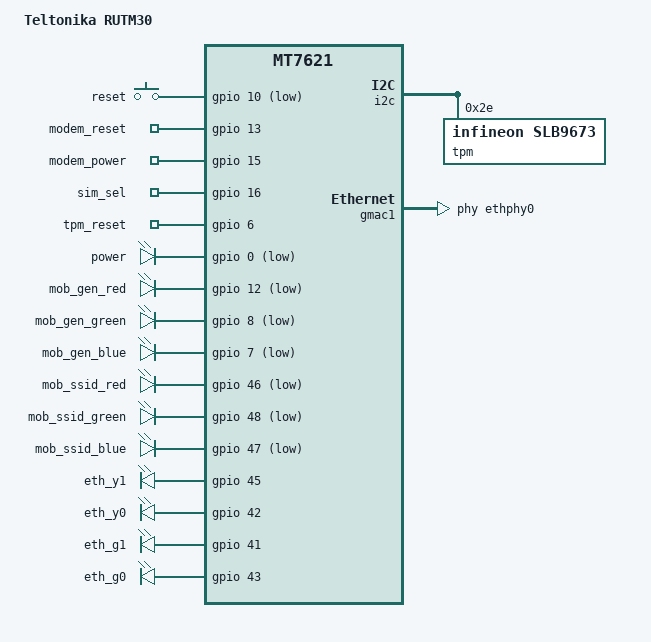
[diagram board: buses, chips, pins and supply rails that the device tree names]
#include "mt7621-teltonika-rutm-common.dtsi"

/ {
	compatible = "teltonika,rutm", "mediatek,mt7621-soc";
	model = "Teltonika RUTM30";

	keys {
		compatible = "gpio-keys";

		reset {
			label = "reset";
			gpios = <&gpio 10 GPIO_ACTIVE_LOW>;
			linux,code = <KEY_RESTART>;
		};
	};

	gpio-export {
		compatible = "gpio-export";
		#size-cells = <0>;

		gpio_modem_reset {
			gpio-export,name = "modem_reset";
			gpio-export,output = <0>;
			gpios = <&gpio 13 GPIO_ACTIVE_HIGH>;
		};

		gpio_modem_power {
			gpio-export,name = "modem_power";
			gpio-export,output = <1>; // tmp
			gpios = <&gpio 15 GPIO_ACTIVE_HIGH>;
		};

		gpio_sim_select {
			gpio-export,name = "sim_sel";
			gpio-export,output = <0>;
			gpios = <&gpio 16 GPIO_ACTIVE_HIGH>;
		};

		gpio_tpm_reset {
			gpio-export,name = "tpm_reset";
			gpio-export,output = <1>;
			gpios = <&gpio 6 GPIO_ACTIVE_HIGH>;
		};
	};

	leds {
		compatible = "gpio-leds";

		led_power {
			label = "power";
			gpios = <&gpio 0 GPIO_ACTIVE_LOW>;
			default-state = "on";
			retain-state-shutdown;
		};

		led_gen_red {
			label = "mob_gen_red";
			gpios = <&gpio 12 GPIO_ACTIVE_LOW>;
		};

		led_gen_green {
			label = "mob_gen_green";
			gpios = <&gpio 8 GPIO_ACTIVE_LOW>;
		};

		led_gen_blue {
			label = "mob_gen_blue";
			gpios = <&gpio 7 GPIO_ACTIVE_LOW>;
		};

		led_ssid_red {
			label = "mob_ssid_red";
			gpios = <&gpio 46 GPIO_ACTIVE_LOW>;
			linux,default-trigger = "timer"; // only
		};

		led_ssid_green {
			label = "mob_ssid_green";
			gpios = <&gpio 48 GPIO_ACTIVE_LOW>;
			linux,default-trigger = "timer"; //only
		};

		led_ssid_blue {
			label = "mob_ssid_blue";
			gpios = <&gpio 47 GPIO_ACTIVE_LOW>;
			linux,default-trigger = "timer"; // only
		};

		led_eth_y1 {
			label = "eth_y1";
			gpios = <&gpio 45 GPIO_ACTIVE_HIGH>;
		};

		led_eth_y0 {
			label = "eth_y0";
			gpios = <&gpio 42 GPIO_ACTIVE_HIGH>;
		};

		led_eth_g1 {
			label = "eth_g1";
			gpios = <&gpio 41 GPIO_ACTIVE_HIGH>;
		};

		led_eth_g0 {
			label = "eth_g0";
			gpios = <&gpio 43 GPIO_ACTIVE_HIGH>;
		};
	};

	tlt_gpios { // Modify according to wiki page "DTS syntax with Libgpiod changes"
		gpiochip_info {
			hw_0 {
				hwver = <0>;
				gpiochip_count = <3>;

				gpiochip_0 = <32>; // Built-in
				gpiochip_1 = <32>; // Built-in
				gpiochip_2 = <32>; // Built-in
			};
		};

		ioman {
			GPIO_5 {
				line_name = "GPIO_OUT_1";
			};
			GPIO_14 {
				line_name = "GPIO_IN_1";
				active_low;
			};
			GPIO_9 {
				line_name = "GPIO_OUT_2";
			};
			GPIO_17 {
				line_name = "GPIO_IN_2";
				active_low;
			};
		};

		misc {
			GPIO_13 {
				line_name = "GPIO_MODEM_RESET_1";
			};
			GPIO_15 {
				line_name = "GPIO_MODEM_POWER_1";
			};
			GPIO_16 {
				line_name = "GPIO_SIM_SELECT";
			};
			GPIO_6 {
				line_name = "GPIO_TPM_RESET";
			};
		};
	};

	ioman {
		layout@0 {
			io@0 { // 4pin #3
				label = "dio0";
				block_type = BLOCK_4PIN;
				block_pin = "3";
				default_direction = "out";
				gpio_in = "GPIO_IN_1";
				gpio_out = "GPIO_OUT_1";
				io_param = "g0";
			};
			io@1 { // 4pin #4
				label = "dio1";
				block_type = BLOCK_4PIN;
				block_pin = "4";
				default_direction = "in";
				gpio_in = "GPIO_IN_2";
				gpio_out = "GPIO_OUT_2";
				io_param = "g1";
			};
		};
	};
};

&state_default {
	gpio {
		groups = "wdt", "jtag", "sdhci", "uart2", "uart3";
		function = "gpio";
	};
};

&switch0 {
	ports {
		port@1 {
			status = "okay";
			label = "lan";
		};
	};
};

&mnfinfo {
	sim_cfg {
		default = "1111100_1112000_1121200";
	};
};

&i2c {
	status = "okay";

	tpm: tpm@2e {
		compatible = "infineon,slb9673";
		reg = <0x2e>;
		status = "okay";
	};
};

&gmac1 {
	phy-handle = <&ethphy0>;
};

&ethphy0 {
	/delete-property/ interrupts;
};
